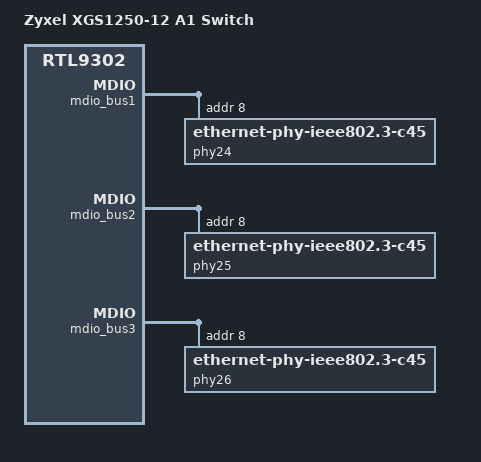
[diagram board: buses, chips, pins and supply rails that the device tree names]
// SPDX-License-Identifier: GPL-2.0-or-later
/dts-v1/;

#include "rtl9302_zyxel_xgs1250-12-common.dtsi"

/ {
	compatible = "zyxel,xgs1250-12-a1", "realtek,rtl9302-soc";
	model = "Zyxel XGS1250-12 A1 Switch";
};

&mdio_bus1 {
	/* External Aquantia 113C PHYs */
	phy24: ethernet-phy@8 {
		reg = <8>;
		compatible = "ethernet-phy-ieee802.3-c45";
		// Disabled because we do not know how to bring up again
		// reset-gpios = <&gpio0 21 GPIO_ACTIVE_LOW>;
		#thermal-sensor-cells = <0>;
	};
};

&mdio_bus2 {
	phy25: ethernet-phy@8 {
		reg = <8>;
		compatible = "ethernet-phy-ieee802.3-c45";
		// Disabled because we do not know how to bring up again
		// reset-gpios = <&gpio0 21 GPIO_ACTIVE_LOW>;
		#thermal-sensor-cells = <0>;
	};
};

&mdio_bus3 {
	phy26: ethernet-phy@8 {
		reg = <8>;
		compatible = "ethernet-phy-ieee802.3-c45";
		// Disabled because we do not know how to bring up again
		// reset-gpios = <&gpio0 21 GPIO_ACTIVE_LOW>;
		#thermal-sensor-cells = <0>;
	};
};

&port24 {
	managed = "in-band-status";
};

&port25 {
	managed = "in-band-status";
};

&port26 {
	managed = "in-band-status";
};
